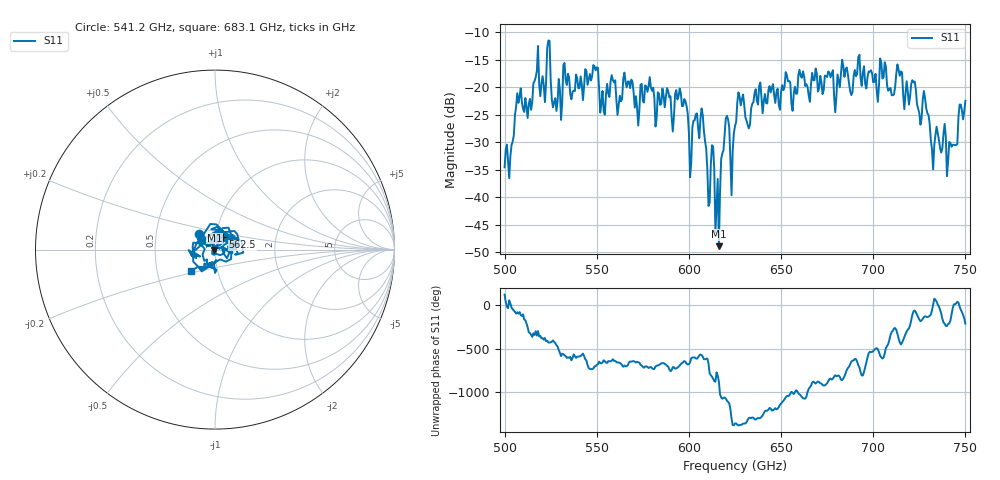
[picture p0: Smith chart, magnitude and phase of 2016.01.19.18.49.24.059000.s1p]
!Created with skrf (http://scikit-rf.org).
# GHz S RI R 50.0
!freq ReS11 ImS11
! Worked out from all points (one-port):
!   401 points, 500 GHz to 750 GHz, reference 50 ohm
!   lowest |S11| = -48.9 dB at 616.2 GHz (marker M1), VSWR 1.01, Z = 49.7 - j0.15 ohm
!   |S11| at or under -10 dB: start of sweep to end of sweep
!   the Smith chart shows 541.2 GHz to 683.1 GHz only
!   S11 on the Smith chart (normalised r, x): 541.2 GHz: 0.82, +0.14; 562.5 GHz: 1.08, +0.15; 683.1 GHz: 0.75, -0.18
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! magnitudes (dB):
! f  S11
! 500 GHz  -34.6
! 507.5 GHz  -22.9
! 513.8 GHz  -22.2
! 516.9 GHz  -18.2
! 531.2 GHz  -22.8
! 541.2 GHz  -18.1
! 549.4 GHz  -17.0
! 553.1 GHz  -20.7
! 558.8 GHz  -18.8
! 562.5 GHz  -21.6
! 593.8 GHz  -22.2
! 601.2 GHz  -33.8
! 607.5 GHz  -25.1
! 610 GHz  -35.0
! 616.2 GHz  -48.9
! 620 GHz  -25.7
! 623.1 GHz  -39.7
! 625 GHz  -27.1
! 628.1 GHz  -23.3
! 631.9 GHz  -26.9
! 637.5 GHz  -23.2
! 656.2 GHz  -24.3
! 683.1 GHz  -15.0
! 687.5 GHz  -20.8
! 705 GHz  -18.4
! 718.8 GHz  -20.9
! 741.2 GHz  -30.0
! 750 GHz  -22.5
